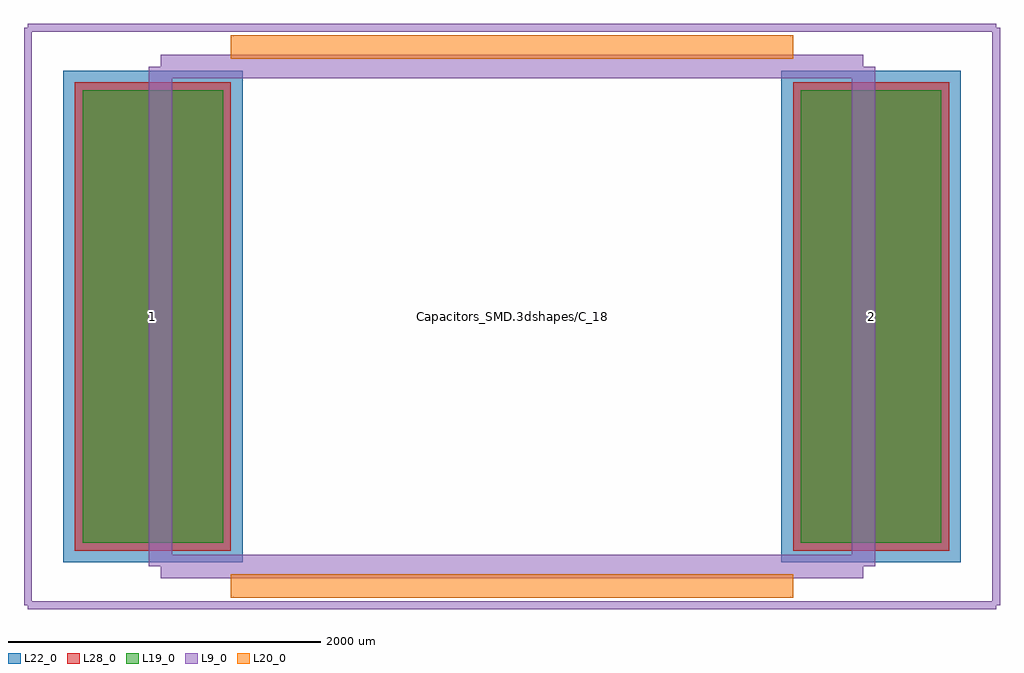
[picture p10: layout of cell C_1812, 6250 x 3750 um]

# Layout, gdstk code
import gdstk
lib = gdstk.Library(unit=1e-6, precision=1e-09)
def R(c, l, rs):  # rectangles x0, y0, x1, y1
    for r in rs: c.add(gdstk.rectangle(r[:2], r[2:], *l))
L9_0 = (9, 0)
L19_0 = (19, 0)
L20_0 = (20, 0)
L22_0 = (22, 0)
L28_0 = (28, 0)

c_1812 = lib.new_cell('C_1812')
R(c_1812, L19_0, [(-2750,-1450,-1850,1450), (1850,-1450,2750,1450)])
R(c_1812, L22_0, [(-2875,-1575,-1725,1575), (1725,-1575,2875,1575)])
R(c_1812, L28_0, [(-2800,-1500,-1800,1500), (1800,-1500,2800,1500)])
c_1812.add(gdstk.FlexPath([(-1800,-1725),(1800,-1725)], 149.998, ends="flush", simple_path=True, layer=20, datatype=0))  # L20_0
c_1812.add(gdstk.FlexPath([(1800,1725),(-1800,1725)], 149.998, ends="flush", simple_path=True, layer=20, datatype=0))  # L20_0
c_1812.add(gdstk.FlexPath([(3100,1850),(3100,-1850)], 50, ends="flush", simple_path=True, layer=9, datatype=0))  # L9_0
c_1812.add(gdstk.FlexPath([(-3100,1850),(-3100,-1850)], 50, ends="flush", simple_path=True, layer=9, datatype=0))  # L9_0
c_1812.add(gdstk.FlexPath([(-3100,-1850),(3100,-1850)], 50, ends="flush", simple_path=True, layer=9, datatype=0))  # L9_0
c_1812.add(gdstk.FlexPath([(-3100,1850),(3100,1850)], 50, ends="flush", simple_path=True, layer=9, datatype=0))  # L9_0
c_1812.add(gdstk.FlexPath([(-2250,1600),(2250,1600)], 149.998, ends="flush", simple_path=True, layer=9, datatype=0))  # L9_0
c_1812.add(gdstk.FlexPath([(2250,1600),(2250,-1600)], 149.998, ends="flush", simple_path=True, layer=9, datatype=0))  # L9_0
c_1812.add(gdstk.FlexPath([(2250,-1600),(-2250,-1600)], 149.998, ends="flush", simple_path=True, layer=9, datatype=0))  # L9_0
c_1812.add(gdstk.FlexPath([(-2250,-1600),(-2250,1600)], 149.998, ends="flush", simple_path=True, layer=9, datatype=0))  # L9_0
c_1812.add(gdstk.Label('Capacitors_SMD.3dshapes/C_1812.wrl', (0,0), layer=12, texttype=0))
c_1812.add(gdstk.Label('2', (2300,0), layer=28, texttype=0))
c_1812.add(gdstk.Label('1', (-2300,0), layer=28, texttype=0))
c_1812.add(gdstk.Label('type', (0,-3000), layer=9, texttype=0))
c_1812.add(gdstk.Label('devicename', (0,3000), layer=9, texttype=0))

lib.write_gds('C_1812.gds')
